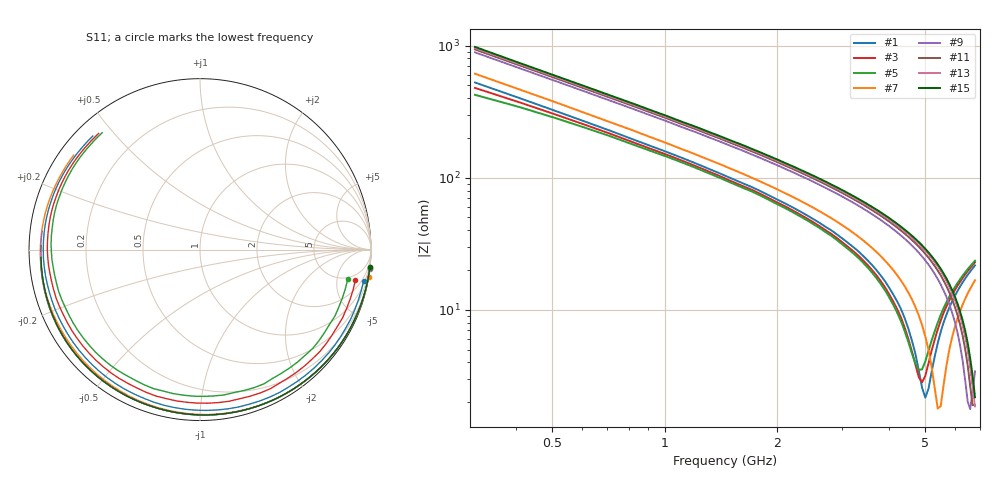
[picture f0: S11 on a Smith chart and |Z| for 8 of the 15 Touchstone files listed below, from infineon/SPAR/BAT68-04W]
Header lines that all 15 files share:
! Infineon Technologies  Discrete & RF Semiconductors
! BAT68-04W
! One-Port S-Parameters
# Hz  S  MA  R  50
!f  S11
!Hz  Mag  Ang
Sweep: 309.9 MHz to 6.807 GHz
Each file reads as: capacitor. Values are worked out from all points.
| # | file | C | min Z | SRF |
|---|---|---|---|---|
| 1 | BAT68-04W_IAC_0.01mA.s1p | 973 fF | 2.16 ohm | 5.009 GHz |
| 2 | BAT68-04W_IAC_0.02mA.s1p | 1.02 pF | 2.54 ohm | 4.943 GHz |
| 3 | BAT68-04W_IAC_0.03mA.s1p | 1.09 pF | 2.82 ohm | 4.9 GHz |
| 4 | BAT68-04W_IAC_0.04mA.s1p | 1.16 pF | 3.17 ohm | 4.865 GHz |
| 5 | BAT68-04W_IAC_0.05mA.s1p | 1.26 pF | 3.51 ohm | 4.837 GHz |
| 6 | BAT68-04W_IAC_0.06mA.s1p | 1.37 pF | 3.79 ohm | 4.812 GHz |
| 7 | BAT68-04W_VCA_0V.s1p | 833 fF | 1.79 ohm | 5.451 GHz |
| 8 | BAT68-04W_VCA_1V.s1p | 619 fF | 1.75 ohm | 6.343 GHz |
| 9 | BAT68-04W_VCA_2V.s1p | 576 fF | 1.77 ohm | 6.586 GHz |
| 10 | BAT68-04W_VCA_3V.s1p | 558 fF | 1.78 ohm | 6.694 GHz |
| 11 | BAT68-04W_VCA_4V.s1p | 548 fF | 1.9 ohm | 6.759 GHz |
| 12 | BAT68-04W_VCA_5V.s1p | 540 fF | 1.8 ohm | 6.806 GHz |
| 13 | BAT68-04W_VCA_6V.s1p | 536 fF | 1.86 ohm | - |
| 14 | BAT68-04W_VCA_7V.s1p | 532 fF | 2 ohm | - |
| 15 | BAT68-04W_VCA_8V.s1p | 528 fF | 2.18 ohm | - |
